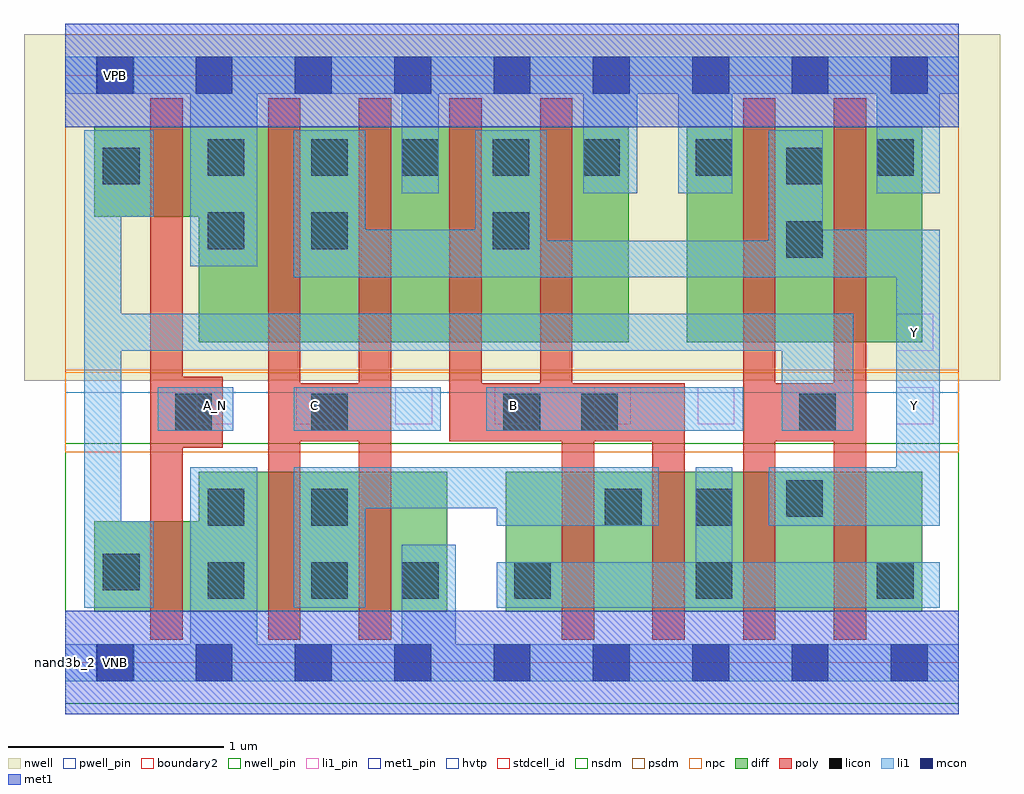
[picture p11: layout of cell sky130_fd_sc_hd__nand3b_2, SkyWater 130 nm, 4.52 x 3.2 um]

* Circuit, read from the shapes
.subckt sky130_fd_sc_hd__nand3b_2 A_N B C VGND VNB VPB VPWR Y
XM1 VGND A_N n1 VNB sky130_fd_pr__nfet_01v8 w=0.42 l=0.15
XM2 n2 C VGND VNB sky130_fd_pr__nfet_01v8 w=0.65 l=0.15 m=2
XM3 n2 B n3 VNB sky130_fd_pr__nfet_01v8 w=0.65 l=0.15 m=2
XM4 Y n1 n3 VNB sky130_fd_pr__nfet_01v8 w=0.65 l=0.15 m=2
XM5 VPWR A_N n1 VPB sky130_fd_pr__pfet_01v8_hvt w=0.42 l=0.15
XM6 Y C VPWR VPB sky130_fd_pr__pfet_01v8_hvt w=1 l=0.15 m=2
XM7 Y B VPWR VPB sky130_fd_pr__pfet_01v8_hvt w=1 l=0.15 m=2
XM8 Y n1 VPWR VPB sky130_fd_pr__pfet_01v8_hvt w=1 l=0.15 m=2
.ends

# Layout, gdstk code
import gdstk
lib = gdstk.Library(unit=1e-6, precision=1e-09)
def R(c, l, rs):  # rectangles x0, y0, x1, y1
    for r in rs: c.add(gdstk.rectangle(r[:2], r[2:], *l))
def A(c, l, x, y, w, h, nx, ny, dx, dy):  # array of equal rectangles
    R(c, l, [(x+i*dx, y+j*dy, x+i*dx+w, y+j*dy+h) for i in range(nx) for j in range(ny)])
def P(c, l, *ps):  # polygons
    for p in ps: c.add(gdstk.Polygon(p, *l))
nwell_pin = (64, 16)
nwell = (64, 20)
diff = (65, 20)
poly = (66, 20)
licon = (66, 44)
li1_pin = (67, 16)
li1 = (67, 20)
mcon = (67, 44)
met1_pin = (68, 16)
met1 = (68, 20)
hvtp = (78, 44)
stdcell_id = (81, 4)
nsdm = (93, 44)
psdm = (94, 20)
npc = (95, 20)
pwell_pin = (122, 16)
boundary2 = (236, 0)

sky130_fd_sc_hd__nand3b_ = lib.new_cell('sky130_fd_sc_hd__nand3b_2')
R(sky130_fd_sc_hd__nand3b_, nwell_pin, [(0.15,2.635,0.32,2.805)])
R(sky130_fd_sc_hd__nand3b_, nwell, [(-0.19,1.305,4.33,2.91)])
R(sky130_fd_sc_hd__nand3b_, diff, [(2.04,0.235,3.97,0.885), (2.88,1.485,3.97,2.485)])
P(sky130_fd_sc_hd__nand3b_, diff, [(2.61,2.485),(0.135,2.485),(0.135,2.065),(0.62,2.065),(0.62,1.485),(2.61,1.485)],
  [(1.77,0.885),(0.62,0.885),(0.62,0.655),(0.135,0.655),(0.135,0.235),(1.77,0.235)])
P(sky130_fd_sc_hd__nand3b_, poly, [(1.51,2.615),(1.36,2.615),(1.36,1.295),(1.09,1.295),(1.09,2.615),(0.94,2.615),(0.94,0.105),(1.09,0.105),(1.09,1.025),(1.36,1.025),(1.36,0.105),(1.51,0.105)],
  [(2.87,1.295),(2.35,1.295),(2.35,2.615),(2.2,2.615),(2.2,1.295),(1.93,1.295),(1.93,2.615),(1.78,2.615),(1.78,1.025),(2.3,1.025),(2.3,0.105),(2.45,0.105),(2.45,1.025),(2.72,1.025),(2.72,0.105),(2.87,0.105)],
  [(3.71,2.615),(3.56,2.615),(3.56,1.295),(3.29,1.295),(3.29,2.615),(3.14,2.615),(3.14,0.105),(3.29,0.105),(3.29,1.025),(3.56,1.025),(3.56,0.105),(3.71,0.105)],
  [(0.73,1.325),(0.545,1.325),(0.545,2.615),(0.395,2.615),(0.395,0.105),(0.545,0.105),(0.545,0.995),(0.73,0.995)])
A(sky130_fd_sc_hd__nand3b_, licon, 2.08, 0.295, 0.17, 0.17, 3, 1, 0.84, 0)
A(sky130_fd_sc_hd__nand3b_, licon, 1.14, 2.255, 0.17, 0.17, 4, 1, 0.42, 0)
R(sky130_fd_sc_hd__nand3b_, licon, [(0.66,0.295,0.83,0.465), (1.14,0.295,1.31,0.465), (1.56,0.295,1.73,0.465), (0.175,0.335,0.345,0.505), (0.66,0.635,0.83,0.805), (1.14,0.635,1.31,0.805), (2.5,0.635,2.67,0.805), (2.92,0.635,3.09,0.805), (3.34,0.675,3.51,0.845), (0.51,1.075,0.68,1.245), (1.14,1.075,1.31,1.245), (2.03,1.075,2.2,1.245), (2.39,1.075,2.56,1.245), (3.4,1.075,3.57,1.245), (3.34,1.875,3.51,2.045), (0.66,1.915,0.83,2.085), (1.14,1.915,1.31,2.085), (1.98,1.915,2.15,2.085), (0.175,2.215,0.345,2.385), (3.34,2.215,3.51,2.385), (0.66,2.255,0.83,2.425), (2.92,2.255,3.09,2.425), (3.76,2.255,3.93,2.425)])
A(sky130_fd_sc_hd__nand3b_, li1_pin, 0.61, 1.105, 0.17, 0.17, 5, 1, 0.46, 0)
R(sky130_fd_sc_hd__nand3b_, li1_pin, [(2.93,1.105,3.1,1.275), (3.85,1.105,4.02,1.275), (3.85,1.445,4.02,1.615)])
R(sky130_fd_sc_hd__nand3b_, li1, [(0.43,1.075,0.78,1.275), (1.06,1.075,1.74,1.275), (1.95,1.075,3.14,1.275)])
P(sky130_fd_sc_hd__nand3b_, li1, [(2.75,0.905),(1.06,0.905),(1.06,0.255),(1.39,0.255),(1.39,0.715),(2,0.715),(2,0.635),(2.75,0.635)],
  [(3.65,1.615),(0.26,1.615),(0.26,2.065),(0.41,2.065),(0.41,2.465),(0.09,2.465),(0.09,0.255),(0.41,0.255),(0.41,0.655),(0.26,0.655),(0.26,1.445),(3.32,1.445),(3.32,1.075),(3.65,1.075)],
  [(4.05,2.005),(3.51,2.005),(3.51,2.465),(3.26,2.465),(3.26,1.955),(2.23,1.955),(2.23,2.465),(1.9,2.465),(1.9,2.005),(1.39,2.005),(1.39,2.465),(1.06,2.465),(1.06,1.785),(3.85,1.785),(3.85,0.905),(3.26,0.905),(3.26,0.635),(4.05,0.635)],
  [(4.14,0.085),(1.81,0.085),(1.81,0.545),(1.56,0.545),(1.56,0.085),(0.89,0.085),(0.89,0.905),(0.58,0.905),(0.58,0.085),(0,0.085),(0,-0.085),(4.14,-0.085)],
  [(4.05,0.465),(3.09,0.465),(3.09,0.905),(2.92,0.905),(2.92,0.465),(2,0.465),(2,0.255),(4.05,0.255)],
  [(4.14,2.805),(0,2.805),(0,2.635),(0.58,2.635),(0.58,1.835),(0.89,1.835),(0.89,2.635),(1.56,2.635),(1.56,2.175),(1.73,2.175),(1.73,2.635),(2.4,2.635),(2.4,2.175),(2.65,2.175),(2.65,2.635),(2.84,2.635),(2.84,2.175),(3.09,2.175),(3.09,2.635),(3.76,2.635),(3.76,2.175),(4.05,2.175),(4.05,2.635),(4.14,2.635)])
A(sky130_fd_sc_hd__nand3b_, mcon, 0.145, -0.085, 0.17, 0.17, 9, 2, 0.46, 2.72)
R(sky130_fd_sc_hd__nand3b_, met1_pin, [(0.15,-0.085,0.32,0.085), (0.15,2.635,0.32,2.805)])
R(sky130_fd_sc_hd__nand3b_, hvtp, [(0,1.25,4.14,2.72)])
R(sky130_fd_sc_hd__nand3b_, stdcell_id, [(0,0,4.14,2.72)])
R(sky130_fd_sc_hd__nand3b_, nsdm, [(0,-0.19,4.14,1.015)])
R(sky130_fd_sc_hd__nand3b_, psdm, [(0,1.355,4.14,2.91)])
R(sky130_fd_sc_hd__nand3b_, npc, [(0,0.975,4.14,1.345)])
R(sky130_fd_sc_hd__nand3b_, pwell_pin, [(0.15,-0.085,0.32,0.085)])
R(sky130_fd_sc_hd__nand3b_, boundary2, [(0,0,4.14,2.72)])
sky130_fd_sc_hd__nand3b_.add(gdstk.FlexPath([(0,2.72),(4.14,2.72)], 0.48, ends="flush", simple_path=True, layer=68, datatype=20))  # met1
sky130_fd_sc_hd__nand3b_.add(gdstk.FlexPath([(0,0),(4.14,0)], 0.48, ends="flush", simple_path=True, layer=68, datatype=20))  # met1
sky130_fd_sc_hd__nand3b_.add(gdstk.Label('Y', (3.935,1.19), layer=67, texttype=5))
sky130_fd_sc_hd__nand3b_.add(gdstk.Label('C', (1.155,1.19), layer=67, texttype=5))
sky130_fd_sc_hd__nand3b_.add(gdstk.Label('A_N', (0.695,1.19), layer=67, texttype=5))
sky130_fd_sc_hd__nand3b_.add(gdstk.Label('B', (2.075,1.19), layer=67, texttype=5))
sky130_fd_sc_hd__nand3b_.add(gdstk.Label('Y', (3.935,1.53), layer=67, texttype=5))
sky130_fd_sc_hd__nand3b_.add(gdstk.Label('B', (2.075,1.19), layer=67, texttype=5))
sky130_fd_sc_hd__nand3b_.add(gdstk.Label('VNB', (0.235,0), layer=64, texttype=59))
sky130_fd_sc_hd__nand3b_.add(gdstk.Label('VPB', (0.235,2.72), layer=64, texttype=5))
sky130_fd_sc_hd__nand3b_.add(gdstk.Label('VGND', (0.23,0), layer=68, texttype=5))
sky130_fd_sc_hd__nand3b_.add(gdstk.Label('VPWR', (0.235,2.72), layer=68, texttype=5))
sky130_fd_sc_hd__nand3b_.add(gdstk.Label('nand3b_2', (0,0), layer=83, texttype=44))

lib.write_gds('sky130_fd_sc_hd__nand3b_2.gds')
